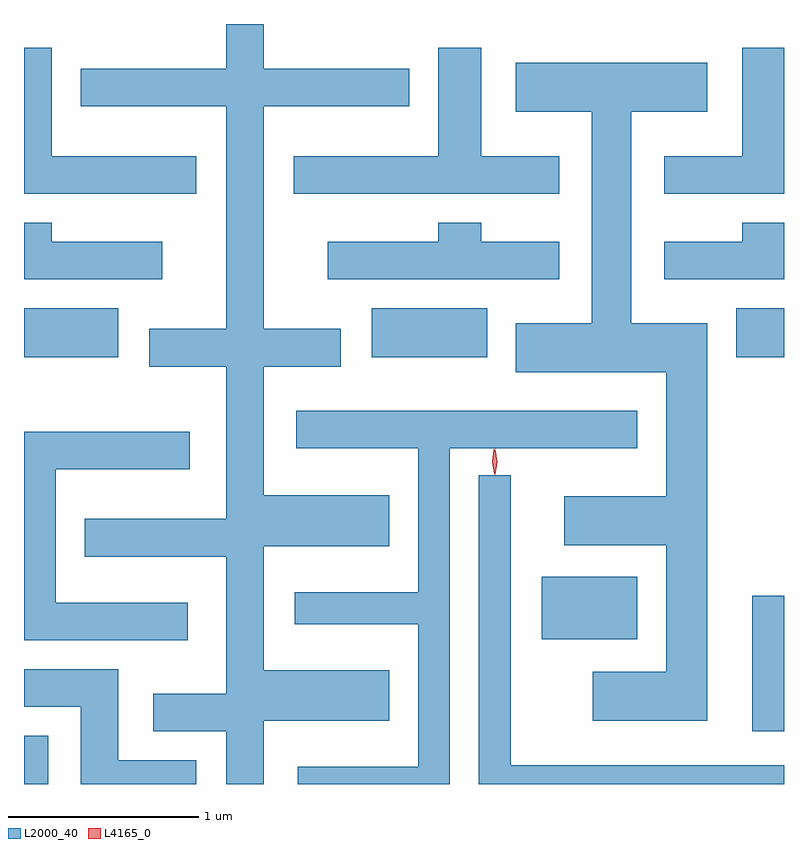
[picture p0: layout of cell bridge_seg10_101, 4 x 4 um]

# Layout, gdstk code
import gdstk
lib = gdstk.Library(unit=1e-6, precision=1e-09)
def R(c, l, rs):  # rectangles x0, y0, x1, y1
    for r in rs: c.add(gdstk.rectangle(r[:2], r[2:], *l))
def P(c, l, *ps):  # polygons
    for p in ps: c.add(gdstk.Polygon(p, *l))
L2000_40 = (2000, 40)
L4165_0 = (4165, 0)

bridge_seg10_101 = lib.new_cell('bridge_seg10_101')
R(bridge_seg10_101, L2000_40, [(1694.127,2140.549,1694.254,2140.804), (1697.961,2140.826,1698.127,2141.539), (1696.851,2141.311,1697.354,2141.639), (1694.127,2142.796,1694.624,2143.054), (1695.956,2142.796,1696.564,2143.054), (1697.876,2142.796,1698.127,2143.054)])
P(bridge_seg10_101, L2000_40, [(1695.389,2140.881),(1696.049,2140.881),(1696.049,2141.149),(1695.389,2141.149),(1695.389,2141.801),(1696.049,2141.801),(1696.049,2142.069),(1695.389,2142.069),(1695.389,2142.746),(1695.794,2142.746),(1695.794,2142.944),(1695.389,2142.944),(1695.389,2144.116),(1696.154,2144.116),(1696.154,2144.314),(1695.389,2144.314),(1695.389,2144.549),(1695.191,2144.549),(1695.191,2144.314),(1694.426,2144.314),(1694.426,2144.116),(1695.191,2144.116),(1695.191,2142.944),(1694.786,2142.944),(1694.786,2142.746),(1695.191,2142.746),(1695.191,2141.944),(1694.446,2141.944),(1694.446,2141.746),(1695.191,2141.746),(1695.191,2141.024),(1694.806,2141.024),(1694.806,2140.826),(1695.191,2140.826),(1695.191,2140.549),(1695.389,2140.549)],
  [(1698.127,2144.424),(1697.906,2144.424),(1697.906,2143.854),(1697.496,2143.854),(1697.496,2143.656),(1698.127,2143.656)],
  [(1695.034,2143.854),(1694.274,2143.854),(1694.274,2144.424),(1694.127,2144.424),(1694.127,2143.656),(1695.034,2143.656)],
  [(1696.944,2143.854),(1696.534,2143.854),(1696.534,2144.424),(1696.306,2144.424),(1696.306,2143.854),(1695.546,2143.854),(1695.546,2143.656),(1696.944,2143.656)],
  [(1697.724,2142.974),(1697.324,2142.974),(1697.324,2144.086),(1697.724,2144.086),(1697.724,2144.344),(1696.716,2144.344),(1696.716,2144.086),(1697.116,2144.086),(1697.116,2142.974),(1696.716,2142.974),(1696.716,2142.716),(1697.506,2142.716),(1697.506,2142.064),(1696.971,2142.064),(1696.971,2141.806),(1697.506,2141.806),(1697.506,2141.139),(1697.121,2141.139),(1697.121,2140.881),(1697.724,2140.881)],
  [(1698.127,2143.504),(1697.906,2143.504),(1697.906,2143.404),(1697.496,2143.404),(1697.496,2143.206),(1698.127,2143.206)],
  [(1694.854,2143.404),(1694.274,2143.404),(1694.274,2143.504),(1694.127,2143.504),(1694.127,2143.206),(1694.854,2143.206)],
  [(1696.944,2143.404),(1696.534,2143.404),(1696.534,2143.504),(1696.306,2143.504),(1696.306,2143.404),(1695.726,2143.404),(1695.726,2143.206),(1696.944,2143.206)],
  [(1696.369,2142.316),(1697.354,2142.316),(1697.354,2142.514),(1695.561,2142.514),(1695.561,2142.316),(1696.201,2142.316),(1696.201,2141.559),(1695.553,2141.559),(1695.553,2141.391),(1696.201,2141.391),(1696.201,2140.639),(1695.568,2140.639),(1695.568,2140.549),(1696.369,2140.549)],
  [(1694.989,2141.504),(1694.294,2141.504),(1694.294,2142.206),(1694.999,2142.206),(1694.999,2142.404),(1694.127,2142.404),(1694.127,2141.306),(1694.989,2141.306)],
  [(1698.127,2140.649),(1696.689,2140.649),(1696.689,2142.173),(1696.521,2142.173),(1696.521,2140.549),(1698.127,2140.549)],
  [(1695.034,2140.674),(1694.624,2140.674),(1694.624,2141.154),(1694.127,2141.154),(1694.127,2140.956),(1694.426,2140.956),(1694.426,2140.549),(1695.034,2140.549)])
P(bridge_seg10_101, L4165_0, [(1696.607,2142.174),(1696.606,2142.175),(1696.597,2142.244),(1696.606,2142.313),(1696.607,2142.314),(1696.607,2142.313),(1696.617,2142.244),(1696.607,2142.175)],
  [(1696.601,2142.178),(1696.601,2142.178),(1696.591,2142.244),(1696.6,2142.31),(1696.601,2142.311),(1696.601,2142.31),(1696.611,2142.244),(1696.602,2142.178)])

lib.write_gds('bridge_seg10_101.gds')
